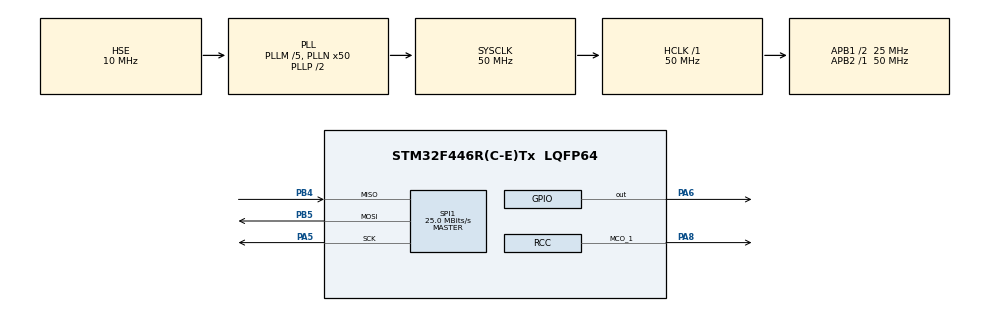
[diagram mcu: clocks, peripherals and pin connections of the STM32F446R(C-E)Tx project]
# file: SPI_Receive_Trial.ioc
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Mcu.Family=STM32F4
Mcu.Name=STM32F446R(C-E)Tx
Mcu.Package=LQFP64
NVIC.PriorityGroup=NVIC_PRIORITYGROUP_0
PA5.Mode=Full_Duplex_Master
PA5.Signal=SPI1_SCK
PA6.Signal=GPIO_Output
PA8.Mode=Clock-out-1
PA8.Signal=RCC_MCO_1
PB4.Mode=Full_Duplex_Master
PB4.Signal=SPI1_MISO
PB5.Mode=Full_Duplex_Master
PB5.Signal=SPI1_MOSI
PH0-OSC_IN.Mode=HSE-External-Oscillator
PH0-OSC_IN.Signal=RCC_OSC_IN
PH1-OSC_OUT.Mode=HSE-External-Oscillator
PH1-OSC_OUT.Signal=RCC_OSC_OUT
ProjectManager.HeapSize=0x200
ProjectManager.StackSize=0x400
ProjectManager.TargetToolchain=STM32CubeIDE
RCC.AHBFreq_Value=50000000
RCC.APB1CLKDivider=RCC_HCLK_DIV2
RCC.APB1Freq_Value=25000000
RCC.APB1TimFreq_Value=50000000
RCC.APB2Freq_Value=50000000
RCC.APB2TimFreq_Value=50000000
RCC.CortexFreq_Value=50000000
RCC.FLatency-AdvancedSettings=FLASH_LATENCY_1
RCC.HCLKFreq_Value=50000000
RCC.HSE_VALUE=10000000
RCC.HSI_VALUE=16000000
RCC.LSE_VALUE=32768
RCC.PLLM=5
RCC.PLLN=50
RCC.PLLSourceVirtual=RCC_PLLSOURCE_HSE
RCC.SYSCLKFreq_VALUE=50000000
RCC.SYSCLKSource=RCC_SYSCLKSOURCE_PLLCLK
RCC.USBFreq_Value=50000000
RCC.VCOOutputFreq_Value=100000000
SPI1.CalculateBaudRate=25.0 MBits/s
SPI1.Direction=SPI_DIRECTION_2LINES
SPI1.Mode=SPI_MODE_MASTER
SPI1.VirtualType=VM_MASTER
board=NUCLEO-F446RE

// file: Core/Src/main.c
/* USER CODE BEGIN Header */
/**
  ******************************************************************************
  * @file           : main.c
  * @brief          : Main program body
  ******************************************************************************
  * @attention
  *
  * Copyright (c) 2022 STMicroelectronics.
  * All rights reserved.
  *
  * This software is licensed under terms that can be found in the LICENSE file
  * in the root directory of this software component.
  * If no LICENSE file comes with this software, it is provided AS-IS.
  *
  ******************************************************************************
  */
/* USER CODE END Header */
#include "main.h"

SPI_HandleTypeDef hspi1;

/* USER CODE BEGIN PV */
uint8_t RxData[4];
uint8_t TxData[7];
uint16_t StartAddress = 0x0000;
uint8_t ChannelNum = 0x01; // Define it here! User defined - changes based on the LTC board connections
uint8_t ChannelAssignmentData; // Define it here! User defined - Changes based on the sensor and other configurations
uint16_t GetCh;
uint32_t DataReceived;
float StatusByte;
/* USER CODE END PV */

void SystemClock_Config(void);
static void MX_GPIO_Init(void);
static void MX_SPI1_Init(void);
/* USER CODE BEGIN PFP */
int Address(uint8_t);
/* USER CODE END PFP */

/* USER CODE BEGIN 0 */
int Address (uint8_t Number)
{
	uint16_t Addr;
	uint16_t Base = 0x200;
	Addr = Base + (uint16_t)((Number - 1) * 4);
	return Addr;
}
/* USER CODE END 0 */

int main(void)
{

  /* MCU Configuration--------------------------------------------------------*/

  /* Reset of all peripherals, Initializes the Flash interface and the Systick. */
  HAL_Init();

  /* Configure the system clock */
  SystemClock_Config();

  /* Initialize all configured peripherals */
  MX_GPIO_Init();
  MX_SPI1_Init();
  /* USER CODE BEGIN 2 */
  HAL_GPIO_WritePin(GPIOA, GPIO_PIN_5, GPIO_PIN_SET);

  /* USER CODE END 2 */

  /* Infinite loop */
  while (1)
  {

    /* USER CODE BEGIN 3 */
	  GetCh = Address(ChannelNum);
	  HAL_GPIO_WritePin(GPIOA, GPIO_PIN_5, 0);
	  TxData[0] = 0x02;
	  TxData[1] = GetCh >> 8;
	  TxData[2] = GetCh;
	  TxData[3] = ChannelAssignmentData >> 24;
	  TxData[4] = ChannelAssignmentData >> 16;
	  TxData[5] = ChannelAssignmentData >> 8;
	  TxData[6] = ChannelAssignmentData;
	  HAL_SPI_Transmit(&hspi1, TxData, 8, 10); // Transmitting the channel assignment data from the user

	  RxData[0] = 0x03;
	  RxData[1] = StartAddress >> 8;
	  RxData[2] = StartAddress;
	  RxData[3] = 0x00;
	  HAL_SPI_Receive(&hspi1, RxData, 8, 10); // Receiving the data from the RAM of the LTC IC which fetch the value of the sensor.
	  StatusByte = (RxData[3] / 256.0);
	  DataReceived = RxData[3] | RxData[4] | RxData[5] | RxData[6];
	  printf("The status byte is %f", StatusByte);
	  printf("The output is %ld", DataReceived);

	  HAL_GPIO_WritePin(GPIOA, GPIO_PIN_5, 1);
	  HAL_Delay(1000);

  }
  /* USER CODE END 3 */
}

void SystemClock_Config(void)
{
  RCC_OscInitTypeDef RCC_OscInitStruct = {0};
  RCC_ClkInitTypeDef RCC_ClkInitStruct = {0};

  /** Configure the main internal regulator output voltage
  */
  __HAL_RCC_PWR_CLK_ENABLE();
  __HAL_PWR_VOLTAGESCALING_CONFIG(PWR_REGULATOR_VOLTAGE_SCALE3);
  /** Initializes the RCC Oscillators according to the specified parameters
  * in the RCC_OscInitTypeDef structure.
  */
  RCC_OscInitStruct.OscillatorType = RCC_OSCILLATORTYPE_HSI|RCC_OSCILLATORTYPE_HSE;
  RCC_OscInitStruct.HSEState = RCC_HSE_ON;
  RCC_OscInitStruct.HSIState = RCC_HSI_ON;
  RCC_OscInitStruct.HSICalibrationValue = RCC_HSICALIBRATION_DEFAULT;
  RCC_OscInitStruct.PLL.PLLState = RCC_PLL_ON;
  RCC_OscInitStruct.PLL.PLLSource = RCC_PLLSOURCE_HSE;
  RCC_OscInitStruct.PLL.PLLM = 5;
  RCC_OscInitStruct.PLL.PLLN = 50;
  RCC_OscInitStruct.PLL.PLLP = RCC_PLLP_DIV2;
  RCC_OscInitStruct.PLL.PLLQ = 2;
  RCC_OscInitStruct.PLL.PLLR = 2;
  if (HAL_RCC_OscConfig(&RCC_OscInitStruct) != HAL_OK)
  {
    Error_Handler();
  }
  /** Initializes the CPU, AHB and APB buses clocks
  */
  RCC_ClkInitStruct.ClockType = RCC_CLOCKTYPE_HCLK|RCC_CLOCKTYPE_SYSCLK
                              |RCC_CLOCKTYPE_PCLK1|RCC_CLOCKTYPE_PCLK2;
  RCC_ClkInitStruct.SYSCLKSource = RCC_SYSCLKSOURCE_PLLCLK;
  RCC_ClkInitStruct.AHBCLKDivider = RCC_SYSCLK_DIV1;
  RCC_ClkInitStruct.APB1CLKDivider = RCC_HCLK_DIV2;
  RCC_ClkInitStruct.APB2CLKDivider = RCC_HCLK_DIV1;

  if (HAL_RCC_ClockConfig(&RCC_ClkInitStruct, FLASH_LATENCY_1) != HAL_OK)
  {
    Error_Handler();
  }
  HAL_RCC_MCOConfig(RCC_MCO1, RCC_MCO1SOURCE_HSI, RCC_MCODIV_1);
}

static void MX_SPI1_Init(void)
{

  /* SPI1 parameter configuration*/
  hspi1.Instance = SPI1;
  hspi1.Init.Mode = SPI_MODE_MASTER;
  hspi1.Init.Direction = SPI_DIRECTION_2LINES;
  hspi1.Init.DataSize = SPI_DATASIZE_8BIT;
  hspi1.Init.CLKPolarity = SPI_POLARITY_LOW;
  hspi1.Init.CLKPhase = SPI_PHASE_1EDGE;
  hspi1.Init.NSS = SPI_NSS_SOFT;
  hspi1.Init.BaudRatePrescaler = SPI_BAUDRATEPRESCALER_2;
  hspi1.Init.FirstBit = SPI_FIRSTBIT_MSB;
  hspi1.Init.TIMode = SPI_TIMODE_DISABLE;
  hspi1.Init.CRCCalculation = SPI_CRCCALCULATION_DISABLE;
  hspi1.Init.CRCPolynomial = 10;
  if (HAL_SPI_Init(&hspi1) != HAL_OK)
  {
    Error_Handler();
  }

}

static void MX_GPIO_Init(void)
{
  GPIO_InitTypeDef GPIO_InitStruct = {0};

  /* GPIO Ports Clock Enable */
  __HAL_RCC_GPIOH_CLK_ENABLE();
  __HAL_RCC_GPIOA_CLK_ENABLE();
  __HAL_RCC_GPIOB_CLK_ENABLE();

  /*Configure GPIO pin Output Level */
  HAL_GPIO_WritePin(GPIOA, GPIO_PIN_6, GPIO_PIN_RESET);

  /*Configure GPIO pin : PA6 */
  GPIO_InitStruct.Pin = GPIO_PIN_6;
  GPIO_InitStruct.Mode = GPIO_MODE_OUTPUT_PP;
  GPIO_InitStruct.Pull = GPIO_NOPULL;
  GPIO_InitStruct.Speed = GPIO_SPEED_FREQ_LOW;
  HAL_GPIO_Init(GPIOA, &GPIO_InitStruct);

  /*Configure GPIO pin : PA8 */
  GPIO_InitStruct.Pin = GPIO_PIN_8;
  GPIO_InitStruct.Mode = GPIO_MODE_AF_PP;
  GPIO_InitStruct.Pull = GPIO_NOPULL;
  GPIO_InitStruct.Speed = GPIO_SPEED_FREQ_LOW;
  GPIO_InitStruct.Alternate = GPIO_AF0_MCO;
  HAL_GPIO_Init(GPIOA, &GPIO_InitStruct);

}

void Error_Handler(void)
{
  __disable_irq();
  while (1)
  {
  }
}
